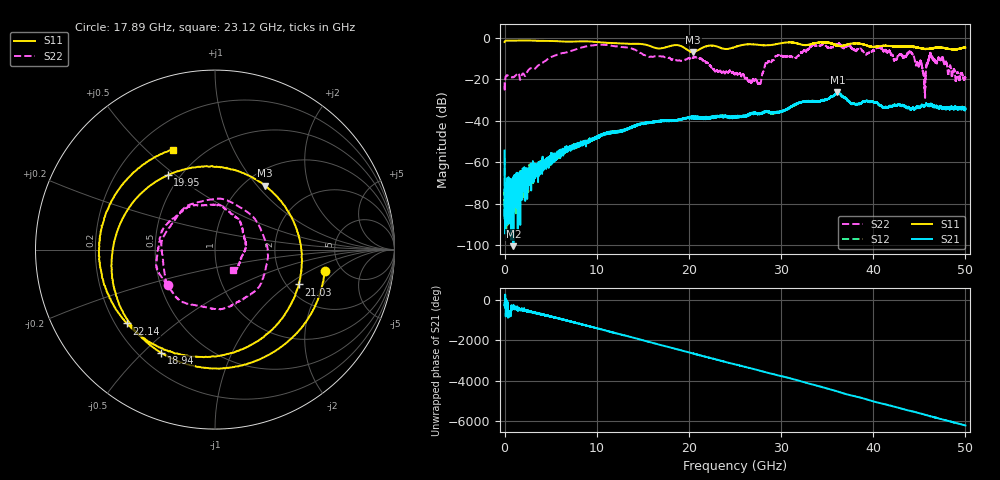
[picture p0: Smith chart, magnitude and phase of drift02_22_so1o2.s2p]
!Created with skrf (http://scikit-rf.org).
# Hz S RI R 50.0
!freq ReS11 ImS11 ReS21 ImS21 ReS12 ImS12 ReS22 ImS22
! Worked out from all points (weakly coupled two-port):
!   10001 points, 300 kHz to 50 GHz, reference 50 ohm
!   highest |S21| = -26.28 dB at 36.12 GHz (marker M1); lowest = -100.5 dB at 955.3 MHz (marker M2)
!   lowest |S11| = -6.9 dB at 20.45 GHz (marker M3), VSWR 2.65, Z = 61.4 + j54.9 ohm
!   |S11| at or under -10 dB: nowhere
!   |S22| runs from -29.1 to -2.6 dB; largest |S21 - S12| = 0.0044
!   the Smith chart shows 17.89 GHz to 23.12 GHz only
!   S11 on the Smith chart (normalised r, x): 17.89 GHz: 3.70, -1.45; 18.94 GHz: 0.29, -0.57; 19.95 GHz: 0.43, +0.47; 21.03 GHz: 2.31, -1.21; 22.14 GHz: 0.25, -0.34; 23.12 GHz: 0.35, +0.61
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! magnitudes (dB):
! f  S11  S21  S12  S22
! 300 kHz  -2.1  -54.4  -57.9  -21.5
! 255.3 MHz  -1.4  -70.0  -77.5  -18.2
! 955.3 MHz  -1.5  -100.5  -73.7  -19.1
! 8.335 GHz  -1.7  -51.4  -51.2  -4.7
! 16.67 GHz  -5.2  -40.2  -40.4  -9.0
! 17.89 GHz  -4.1  -40.0  -39.9  -9.7
! 18.94 GHz  -3.8  -39.6  -39.5  -10.9
! 19.95 GHz  -6.2  -38.5  -38.6  -9.9
! 20.45 GHz  -6.9  -38.7  -38.8  -9.8
! 21.03 GHz  -5.9  -38.5  -38.6  -9.5
! 22.14 GHz  -3.9  -38.7  -38.8  -12.9
! 23.12 GHz  -4.4  -38.1  -38.2  -16.3
! 25 GHz  -4.5  -38.1  -38.0  -17.5
! 27.62 GHz  -3.5  -36.9  -36.5  -21.9
! 28.5 GHz  -3.7  -35.6  -35.7  -12.3
! 33.34 GHz  -3.0  -30.6  -30.5  -3.8
! 36.12 GHz  -3.8  -26.3  -27.0  -3.3
! 41.67 GHz  -4.0  -33.5  -33.3  -6.4
! 44.12 GHz  -4.1  -34.5  -34.5  -7.1
! 45.5 GHz  -5.4  -33.1  -33.0  -18.5
! 46.25 GHz  -5.3  -32.0  -32.1  -7.9
! 50 GHz  -4.8  -34.1  -34.2  -19.3
